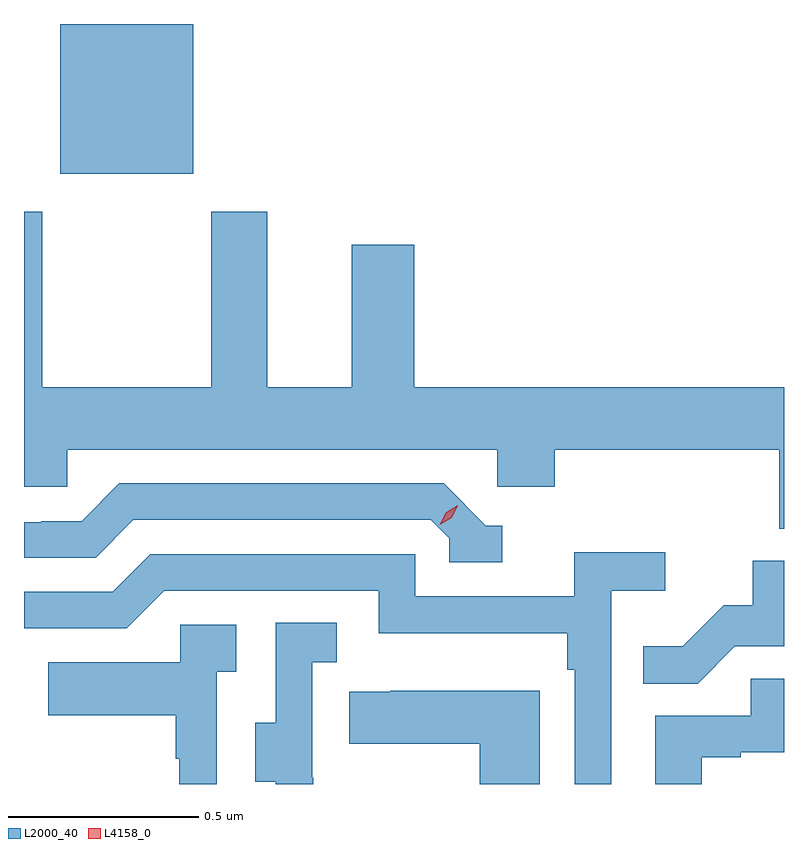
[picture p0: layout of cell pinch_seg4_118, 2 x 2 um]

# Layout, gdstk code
import gdstk
lib = gdstk.Library(unit=1e-6, precision=1e-09)
def R(c, l, rs):  # rectangles x0, y0, x1, y1
    for r in rs: c.add(gdstk.rectangle(r[:2], r[2:], *l))
def P(c, l, *ps):  # polygons
    for p in ps: c.add(gdstk.Polygon(p, *l))
L2000_40 = (2000, 40)
L4158_0 = (4158, 0)

pinch_seg4_118 = lib.new_cell('pinch_seg4_118')
R(pinch_seg4_118, L2000_40, [(1075.328,792.218,1075.678,792.612)])
P(pinch_seg4_118, L2000_40, [(1077.233,791.656),(1076.26,791.656),(1076.26,792.031),(1076.096,792.031),(1076.096,791.656),(1075.873,791.656),(1075.873,792.118),(1075.726,792.118),(1075.726,791.656),(1075.281,791.656),(1075.281,792.118),(1075.233,792.118),(1075.233,791.394),(1075.347,791.394),(1075.347,791.492),(1076.478,791.492),(1076.478,791.394),(1076.63,791.394),(1076.63,791.492),(1077.221,791.492),(1077.221,791.284),(1077.233,791.284)],
  [(1076.491,791.292),(1076.448,791.292),(1076.337,791.403),(1075.484,791.403),(1075.385,791.304),(1075.278,791.304),(1075.278,791.301),(1075.233,791.301),(1075.233,791.208),(1075.422,791.208),(1075.521,791.307),(1076.304,791.307),(1076.352,791.259),(1076.352,791.196),(1076.491,791.196)],
  [(1076.778,791.12),(1076.92,791.12),(1076.92,791.222),(1076.681,791.222),(1076.681,791.106),(1076.262,791.106),(1076.262,791.217),(1075.565,791.217),(1075.466,791.118),(1075.233,791.118),(1075.233,791.022),(1075.503,791.022),(1075.602,791.121),(1076.166,791.121),(1076.166,791.009),(1076.662,791.009),(1076.662,790.913),(1076.682,790.913),(1076.682,790.612),(1076.778,790.612)],
  [(1077.104,790.974),(1077.233,790.974),(1077.233,791.199),(1077.151,791.199),(1077.151,791.082),(1077.074,791.082),(1076.967,790.975),(1076.863,790.975),(1076.863,790.876),(1077.006,790.876)],
  [(1075.994,790.629),(1075.992,790.629),(1075.992,790.933),(1076.056,790.933),(1076.056,791.036),(1075.896,791.036),(1075.896,790.773),(1075.841,790.773),(1075.841,790.618),(1075.895,790.618),(1075.895,790.612),(1075.994,790.612)],
  [(1075.74,790.907),(1075.792,790.907),(1075.792,791.031),(1075.644,791.031),(1075.644,790.933),(1075.297,790.933),(1075.297,790.793),(1075.632,790.793),(1075.632,790.679),(1075.642,790.679),(1075.642,790.612),(1075.74,790.612)],
  [(1077.016,790.683),(1077.119,790.683),(1077.119,790.695),(1077.233,790.695),(1077.233,790.889),(1077.145,790.889),(1077.145,790.791),(1076.894,790.791),(1076.894,790.612),(1077.016,790.612)],
  [(1076.59,790.858),(1076.197,790.858),(1076.197,790.855),(1076.089,790.855),(1076.089,790.718),(1076.432,790.718),(1076.432,790.612),(1076.59,790.612)])
P(pinch_seg4_118, L4158_0, [(1076.327,791.294),(1076.327,791.294),(1076.343,791.326),(1076.374,791.346),(1076.375,791.346),(1076.375,791.345),(1076.358,791.313),(1076.327,791.294)])

lib.write_gds('pinch_seg4_118.gds')
